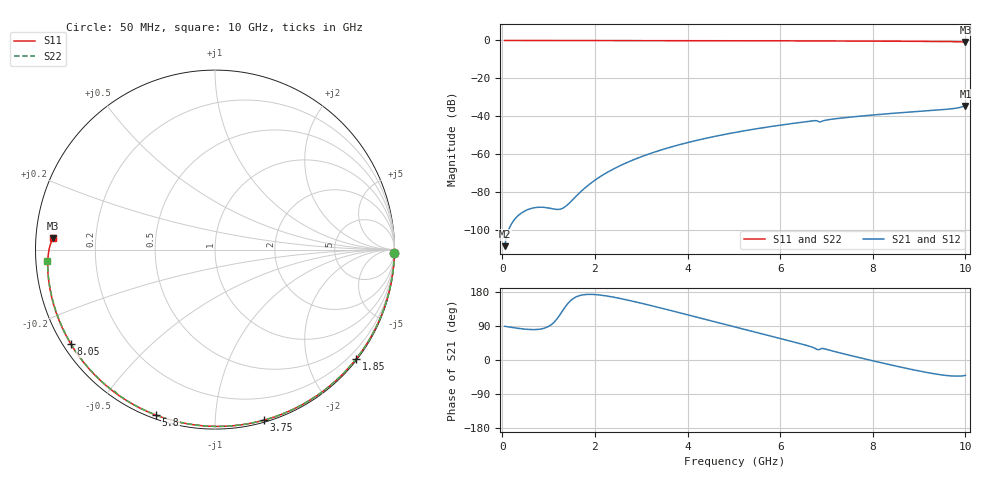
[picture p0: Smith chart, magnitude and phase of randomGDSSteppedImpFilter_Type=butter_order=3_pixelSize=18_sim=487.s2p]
! freq	dB(S11)	phase(S11)	dB(S12)	phase(S12)
!  dB(S21)	phase(S21)	dB(S22)	phase(S22)
!S-par simulation data
#  GHz  S  DB  R 50
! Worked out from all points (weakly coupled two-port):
!   200 points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, 50 MHz to 10 GHz, reference 50 ohm
!   highest |S21| = -34.52 dB at 10 GHz (marker M1); lowest = -108.5 dB at 50 MHz (marker M2)
!   lowest |S11| = -0.9 dB at 10 GHz (marker M3), VSWR 20.12, Z = 2.49 + j1.78 ohm
!   |S11| at or under -10 dB: nowhere
!   |S22| runs from -0.6 to 0.0 dB; largest |S21 - S12| = 0
!   S11 on the Smith chart (normalised r, x): 50 MHz: open; 1.85 GHz: 0.03, -2.93; 3.75 GHz: 0.02, -1.33; 5.8 GHz: 0.02, -0.71; 8.05 GHz: 0.02, -0.30; 10 GHz: 0.05, +0.04
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0.05  -0.00 -1.0  -108.52 89.0  -108.52 89.0  -0.00 -1.0
0.85  -0.02 -17.5  -87.97 82.2  -87.97 82.2  -0.02 -17.3
1.65  -0.04 -33.7  -80.81 169.2  -80.81 169.2  -0.04 -33.2
1.75  -0.04 -35.7  -78.55 172.1  -78.55 172.1  -0.04 -35.2
1.85  -0.05 -37.7  -76.48 173.1  -76.48 173.1  -0.05 -37.2
2.15  -0.05 -43.6  -71.30 170.8  -71.30 170.8  -0.05 -43.0
2.5  -0.06 -50.4  -66.58 163.5  -66.58 163.5  -0.06 -49.7
2.9  -0.07 -58.1  -62.29 152.7  -62.29 152.7  -0.07 -57.3
3.4  -0.09 -67.4  -58.00 137.9  -58.00 137.9  -0.09 -66.5
3.75  -0.10 -73.9  -55.49 127.2  -55.49 127.2  -0.10 -72.9
4.4  -0.12 -85.5  -51.59 106.8  -51.59 106.8  -0.12 -84.4
5.05  -0.15 -96.9  -48.42 86.3  -48.42 86.3  -0.15 -95.5
5.8  -0.18 -109.6  -45.41 62.9  -45.41 62.9  -0.18 -108.0
6.7  -0.24 -124.5  -42.42 33.6  -42.42 33.6  -0.24 -122.7
6.8  -0.25 -126.2  -42.38 27.6  -42.38 27.6  -0.27 -124.4
6.85  -0.25 -127.0  -43.04 27.5  -43.04 27.5  -0.29 -125.0
7.15  -0.27 -131.9  -41.42 23.1  -41.42 23.1  -0.27 -129.8
8.05  -0.35 -146.8  -39.22 -3.5  -39.22 -3.5  -0.35 -144.2
8.35  -0.38 -151.8  -38.60 -11.9  -38.60 -11.9  -0.38 -149.0
9.35  -0.51 -169.4  -36.80 -36.8  -36.80 -36.8  -0.49 -165.3
9.75  -0.62 -177.6  -35.90 -42.4  -35.90 -42.4  -0.55 -172.0
10  -0.86 175.9  -34.52 -40.6  -34.52 -40.6  -0.58 -176.2
